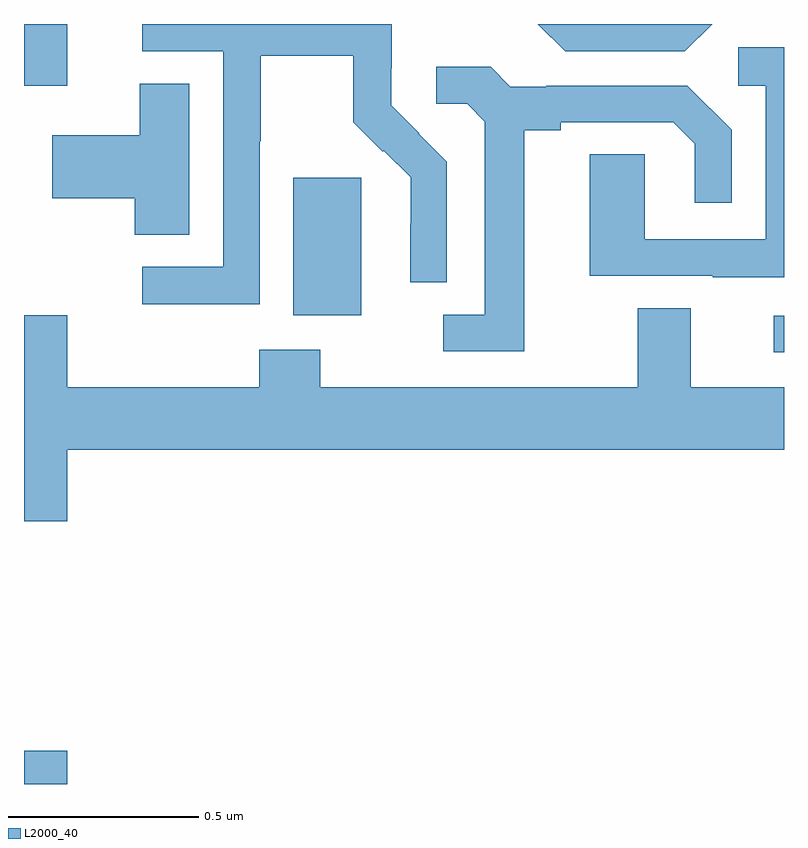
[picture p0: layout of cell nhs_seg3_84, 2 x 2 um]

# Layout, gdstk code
import gdstk
lib = gdstk.Library(unit=1e-6, precision=1e-09)
def R(c, l, rs):  # rectangles x0, y0, x1, y1
    for r in rs: c.add(gdstk.rectangle(r[:2], r[2:], *l))
def P(c, l, *ps):  # polygons
    for p in ps: c.add(gdstk.Polygon(p, *l))
L2000_40 = (2000, 40)

nhs_seg3_84 = lib.new_cell('nhs_seg3_84')
R(nhs_seg3_84, L2000_40, [(112,669.4,112.114,669.487), (113.973,670.536,114,670.632), (112.709,670.634,112.888,670.995), (112,671.238,112.114,671.4)])
P(nhs_seg3_84, L2000_40, [(113.811,671.4),(113.352,671.4),(113.424,671.328),(113.739,671.328)],
  [(112.62,671.092),(112.623,671.092),(112.623,671.316),(112.867,671.316),(112.867,671.141),(112.944,671.064),(112.947,671.067),(113.018,670.997),(113.018,670.874),(113.016,670.874),(113.016,670.72),(113.112,670.72),(113.112,671.038),(113.039,671.111),(113.04,671.112),(112.966,671.186),(112.966,671.283),(112.968,671.283),(112.968,671.4),(112.311,671.4),(112.311,671.328),(112.524,671.328),(112.524,670.761),(112.311,670.761),(112.311,670.663),(112.62,670.663)],
  [(114,671.339),(113.88,671.339),(113.88,671.238),(113.952,671.238),(113.952,670.833),(113.634,670.833),(113.634,671.057),(113.489,671.057),(113.489,670.737),(113.813,670.737),(113.813,670.733),(114,670.733)],
  [(113.317,671.12),(113.413,671.12),(113.413,671.142),(113.708,671.142),(113.765,671.085),(113.765,670.929),(113.862,670.929),(113.862,671.122),(113.746,671.238),(113.374,671.238),(113.374,671.235),(113.28,671.235),(113.228,671.287),(113.085,671.287),(113.085,671.19),(113.166,671.19),(113.213,671.143),(113.213,670.635),(113.103,670.635),(113.103,670.539),(113.317,670.539)],
  [(112.435,671.243),(112.304,671.243),(112.304,671.107),(112.074,671.107),(112.074,670.942),(112.292,670.942),(112.292,670.846),(112.435,670.846)],
  [(112.114,670.28),(114,670.28),(114,670.444),(113.755,670.444),(113.755,670.652),(113.615,670.652),(113.615,670.444),(112.779,670.444),(112.779,670.543),(112.619,670.543),(112.619,670.444),(112.114,670.444),(112.114,670.633),(112,670.633),(112,670.092),(112.114,670.092)])

lib.write_gds('nhs_seg3_84.gds')
